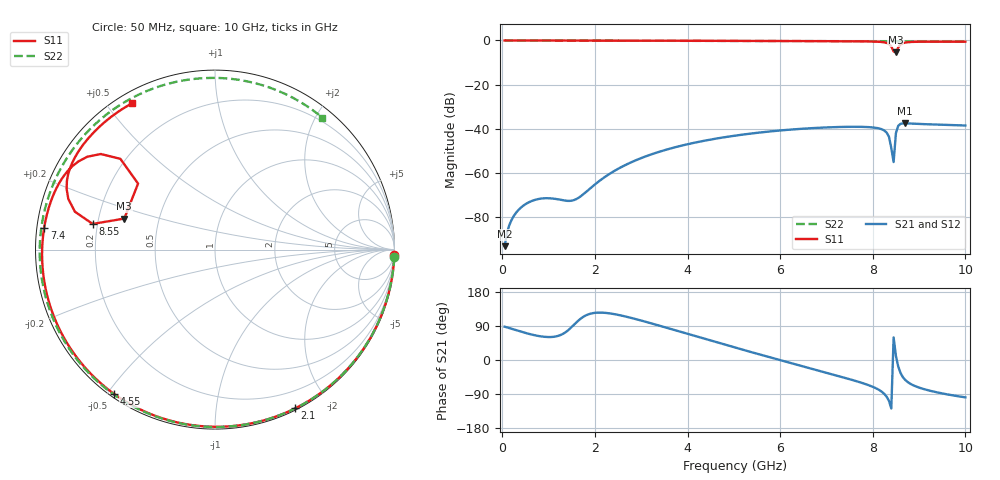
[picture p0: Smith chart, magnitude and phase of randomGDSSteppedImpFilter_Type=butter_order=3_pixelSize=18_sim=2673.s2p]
! freq	dB(S11)	phase(S11)	dB(S12)	phase(S12)
!  dB(S21)	phase(S21)	dB(S22)	phase(S22)
!S-par simulation data
#  GHz  S  DB  R 50
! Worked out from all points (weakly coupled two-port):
!   200 points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, 50 MHz to 10 GHz, reference 50 ohm
!   highest |S21| = -37.59 dB at 8.7 GHz (marker M1); lowest = -93.4 dB at 50 MHz (marker M2)
!   lowest |S11| = -5.4 dB at 8.5 GHz (marker M3), VSWR 3.29, Z = 15.6 + j7.52 ohm
!   |S11| at or under -10 dB: nowhere
!   |S22| runs from -0.5 to 0.0 dB; largest |S21 - S12| = 0
!   S11 on the Smith chart (normalised r, x): 50 MHz: 0, -72; 2.1 GHz: 0.02, -1.63; 4.55 GHz: 0.01, -0.52; 7.4 GHz: 0.02, +0.06; 8.55 GHz: 0.18, +0.10; 10 GHz: 0.04, +0.58
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0.05  -0.00 -1.6  -93.35 87.9  -93.35 87.9  -0.00 -2.4
0.25  -0.01 -7.9  -79.59 80.4  -79.59 80.4  -0.02 -12.0
0.45  -0.02 -14.1  -75.03 73.1  -75.03 73.1  -0.03 -21.4
0.7  -0.03 -21.8  -72.38 65.3  -72.38 65.3  -0.04 -33.1
1.5  -0.06 -46.0  -72.70 87.2  -72.70 87.2  -0.08 -68.2
1.75  -0.07 -53.3  -69.79 114.0  -69.79 114.0  -0.09 -78.3
2.1  -0.08 -63.2  -63.69 125.1  -63.69 125.1  -0.10 -91.8
2.7  -0.10 -79.6  -56.10 113.6  -56.10 113.6  -0.12 -113.0
3.4  -0.12 -97.6  -50.44 90.3  -50.44 90.3  -0.14 -135.3
4.55  -0.17 -125.0  -44.78 49.4  -44.78 49.4  -0.18 -167.7
5.05  -0.19 -136.2  -43.12 32.0  -43.12 32.0  -0.21 179.2
5.85  -0.24 -153.6  -41.14 4.8  -41.14 4.8  -0.24 158.9
6.7  -0.29 -171.8  -39.77 -23.6  -39.77 -23.6  -0.29 137.6
7.4  -0.36 172.7  -39.21 -47.1  -39.21 -47.1  -0.32 119.8
8.15  -0.63 152.0  -39.99 -80.0  -39.99 -80.0  -0.36 100.4
8.35  -1.62 140.1  -43.70 -107.9  -43.70 -107.9  -0.38 95.2
8.45  -4.96 139.4  -55.18 59.6  -55.18 59.6  -0.38 92.6
8.5  -5.45 161.1  -42.03 10.7  -42.03 10.7  -0.38 91.2
8.55  -3.14 168.1  -38.73 -17.3  -38.73 -17.3  -0.38 89.9
8.7  -0.97 157.7  -37.59 -52.5  -37.59 -52.5  -0.39 85.9
9.15  -0.55 141.2  -38.01 -78.4  -38.01 -78.4  -0.42 73.8
10  -0.56 119.6  -38.60 -98.6  -38.60 -98.6  -0.47 50.8
